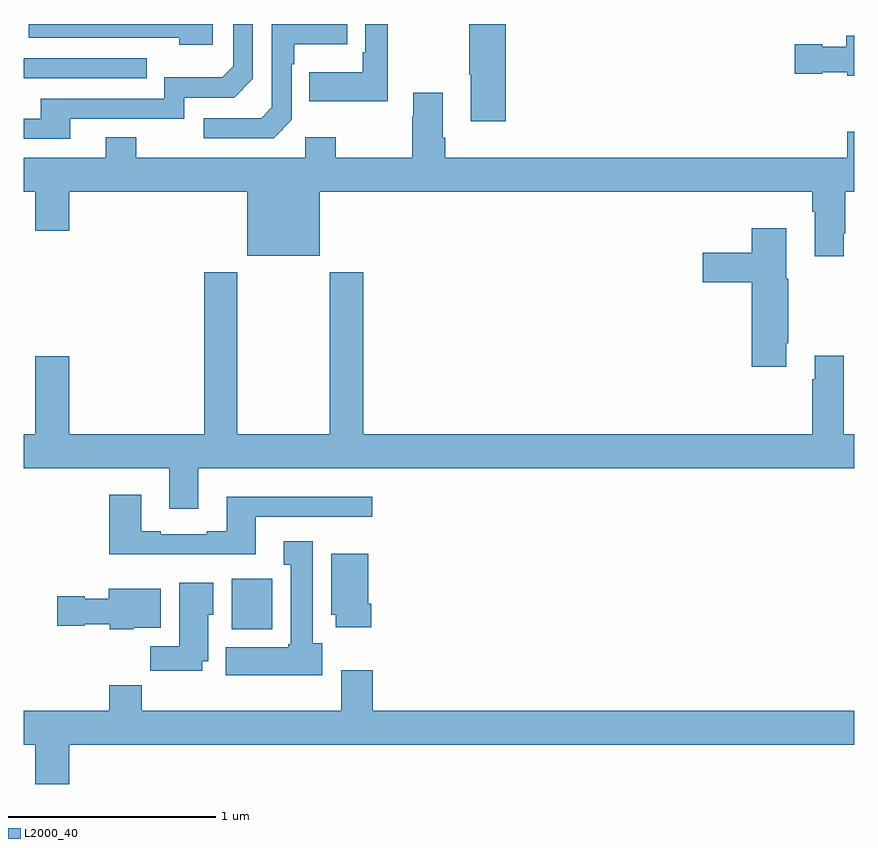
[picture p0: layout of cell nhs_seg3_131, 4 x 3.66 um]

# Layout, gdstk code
import gdstk
lib = gdstk.Library(unit=1e-6, precision=1e-09)
def R(c, l, rs):  # rectangles x0, y0, x1, y1
    for r in rs: c.add(gdstk.rectangle(r[:2], r[2:], *l))
def P(c, l, *ps):  # polygons
    for p in ps: c.add(gdstk.Polygon(p, *l))
L2000_40 = (2000, 40)

nhs_seg3_131 = lib.new_cell('nhs_seg3_131')
R(nhs_seg3_131, L2000_40, [(118.001,689.486,118.198,689.728), (117,692.139,117.593,692.235)])
P(nhs_seg3_131, L2000_40, [(118.753,692.4),(118.644,692.4),(118.644,692.263),(118.632,692.263),(118.632,692.167),(118.375,692.167),(118.375,692.027),(118.753,692.027)],
  [(117.91,692.4),(117.024,692.4),(117.024,692.334),(117.749,692.334),(117.749,692.3),(117.91,692.3)],
  [(119.321,692.4),(119.146,692.4),(119.146,692.155),(119.153,692.155),(119.153,691.932),(119.321,691.932)],
  [(118.29,691.938),(118.29,692.207),(118.303,692.207),(118.303,692.303),(118.559,692.303),(118.559,692.4),(118.194,692.4),(118.194,691.998),(118.143,691.947),(117.867,691.947),(117.867,691.851),(118.203,691.851)],
  [(117.223,691.944),(117.774,691.944),(117.774,692.046),(118.014,692.046),(118.104,692.136),(118.104,692.4),(118.008,692.4),(118.008,692.196),(117.955,692.143),(117.678,692.143),(117.678,692.04),(117.083,692.04),(117.083,691.944),(117,691.944),(117,691.848),(117.223,691.848)],
  [(121,692.344),(120.962,692.344),(120.962,692.29),(120.846,692.29),(120.846,692.303),(120.714,692.303),(120.714,692.161),(120.846,692.161),(120.846,692.168),(120.966,692.168),(120.966,692.15),(121,692.15)],
  [(120.949,691.393),(120.957,691.393),(120.957,691.592),(121,691.592),(121,691.88),(120.965,691.88),(120.965,691.756),(119.03,691.756),(119.03,691.852),(119.017,691.852),(119.017,692.068),(118.877,692.068),(118.877,691.955),(118.87,691.955),(118.87,691.756),(118.503,691.756),(118.503,691.855),(118.356,691.855),(118.356,691.756),(117.543,691.756),(117.543,691.855),(117.395,691.855),(117.395,691.756),(117,691.756),(117,691.592),(117.056,691.592),(117.056,691.404),(117.22,691.404),(117.22,691.592),(118.076,691.592),(118.076,691.283),(118.426,691.283),(118.426,691.592),(120.797,691.592),(120.797,691.496),(120.809,691.496),(120.809,691.281),(120.949,691.281)],
  [(120.673,690.862),(120.681,690.862),(120.681,691.173),(120.673,691.173),(120.673,691.417),(120.506,691.417),(120.506,691.299),(120.27,691.299),(120.27,691.157),(120.506,691.157),(120.506,690.75),(120.673,690.75)],
  [(117.841,690.26),(121,690.26),(121,690.424),(120.949,690.424),(120.949,690.802),(120.809,690.802),(120.809,690.689),(120.797,690.689),(120.797,690.424),(118.634,690.424),(118.634,691.204),(118.474,691.204),(118.474,690.424),(118.029,690.424),(118.029,691.204),(117.869,691.204),(117.869,690.424),(117.22,690.424),(117.22,690.799),(117.056,690.799),(117.056,690.424),(117,690.424),(117,690.26),(117.701,690.26),(117.701,690.066),(117.841,690.066)],
  [(118.117,690.027),(118.678,690.027),(118.678,690.124),(117.977,690.124),(117.977,689.956),(117.881,689.956),(117.881,689.943),(117.661,689.943),(117.661,689.956),(117.565,689.956),(117.565,690.133),(117.413,690.133),(117.413,689.846),(118.117,689.846)],
  [(118.438,689.418),(118.393,689.418),(118.393,689.908),(118.253,689.908),(118.253,689.795),(118.286,689.795),(118.286,689.412),(118.273,689.412),(118.273,689.398),(117.974,689.398),(117.974,689.264),(118.438,689.264)],
  [(118.673,689.608),(118.66,689.608),(118.66,689.848),(118.481,689.848),(118.481,689.556),(118.502,689.556),(118.502,689.496),(118.673,689.496)],
  [(117.859,689.33),(117.889,689.33),(117.889,689.556),(117.913,689.556),(117.913,689.71),(117.749,689.71),(117.749,689.404),(117.61,689.404),(117.61,689.286),(117.859,689.286)],
  [(117.528,689.492),(117.661,689.492),(117.661,689.68),(117.41,689.68),(117.41,689.632),(117.294,689.632),(117.294,689.645),(117.162,689.645),(117.162,689.503),(117.294,689.503),(117.294,689.51),(117.414,689.51),(117.414,689.486),(117.528,689.486)],
  [(117.22,688.928),(121,688.928),(121,689.092),(118.682,689.092),(118.682,689.287),(118.529,689.287),(118.529,689.092),(117.569,689.092),(117.569,689.216),(117.413,689.216),(117.413,689.092),(117,689.092),(117,688.928),(117.056,688.928),(117.056,688.74),(117.22,688.74)])

lib.write_gds('nhs_seg3_131.gds')
